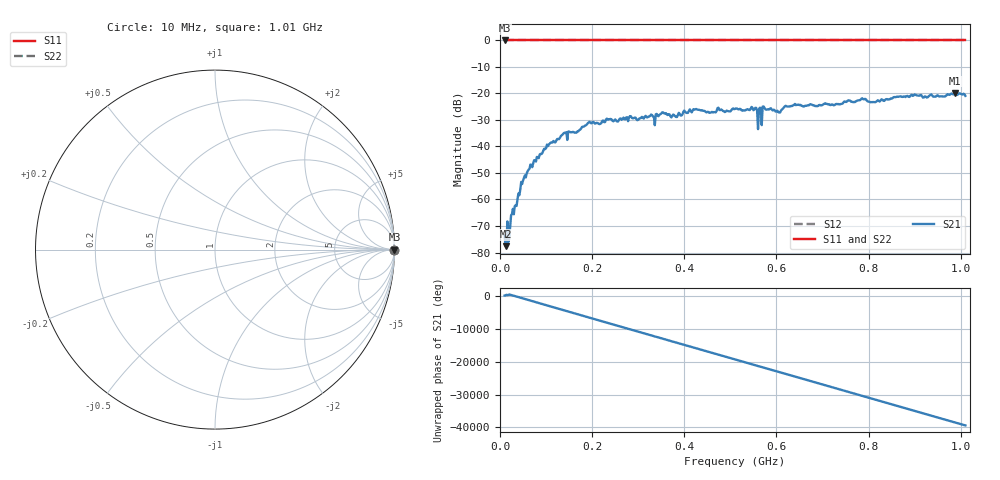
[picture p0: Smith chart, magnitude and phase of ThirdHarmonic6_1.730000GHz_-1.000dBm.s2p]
! 8/16/2025 8:50:31 PM
! C:\ANRITSUVNA\TEMP\TEMP.S2P
! CHANNEL.1
! TR.MEASUREMENT
! RAW.DATA
! RF.CORRECTION.OFF
! AVERAGING.OFF
! IF.BANDWIDTH: 5KHZ
! SWEEPTYPE:  FREQ.SWEEP(Linear)
! Reference Plane Port Info
! PORT:  PORT1  PORT2
! DISTANCE:  0  m  0  m
! TIME:  0  s  0  s
! PHASE.OFFSET:  0  deg.  0  deg.
! LOSS:  0  dB  0  dB
! REF.LOSS:  0  dB  0  dB
! REF.FREQ:  0  Hz  0  Hz
! Power Info
! POWER:  -20  dBm  -20  dBm
! EFF.POWER:  -20  dBm  -20  dBm
! SOURCE.ATTEN:  0  dB  0  dB
! TEST.ATTEN:  0  dB  0  dB
# GHZ S RI R 50.0
! FREQ.GHZ  S11RE  S11IM  S21RE  S21IM  S12RE  S12IM  S22RE  S22IM
!; PortSelection: Port_12
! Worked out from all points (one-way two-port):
!   501 points, 10 MHz to 1.01 GHz, reference 50 ohm
!   highest |S21| = -19.83 dB at 988 MHz (marker M1); lowest = -77.6 dB at 12 MHz (marker M2)
!   lowest |S11| = 0.0 dB at 10 MHz (marker M3)
!   |S11| at or under -10 dB: nowhere
!   |S22| runs from 0.0 to 0.0 dB; largest |S21 - S12| = 1.1
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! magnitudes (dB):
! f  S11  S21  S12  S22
! 10 MHz  0.0  -73.6  0.0  0.0
! 12 MHz  0.0  -77.6  0.0  0.0
! 16 MHz  0.0  -68.3  0.0  0.0
! 28 MHz  0.0  -63.5  0.0  0.0
! 34 MHz  0.0  -62.2  0.0  0.0
! 50 MHz  0.0  -52.8  0.0  0.0
! 64 MHz  0.0  -48.4  0.0  0.0
! 106 MHz  0.0  -39.2  0.0  0.0
! 140 MHz  0.0  -34.8  0.0  0.0
! 178 MHz  0.0  -32.6  0.0  0.0
! 234 MHz  0.0  -29.9  0.0  0.0
! 344 MHz  0.0  -28.6  0.0  0.0
! 510 MHz  0.0  -25.8  0.0  0.0
! 552 MHz  0.0  -26.0  0.0  0.0
! 564 MHz  0.0  -25.4  0.0  0.0
! 574 MHz  0.0  -25.4  0.0  0.0
! 604 MHz  0.0  -27.0  0.0  0.0
! 622 MHz  0.0  -24.8  0.0  0.0
! 678 MHz  0.0  -24.4  0.0  0.0
! 844 MHz  0.0  -22.2  0.0  0.0
! 988 MHz  0.0  -19.8  0.0  0.0
! 1.01 GHz  0.0  -20.9  0.0  0.0
